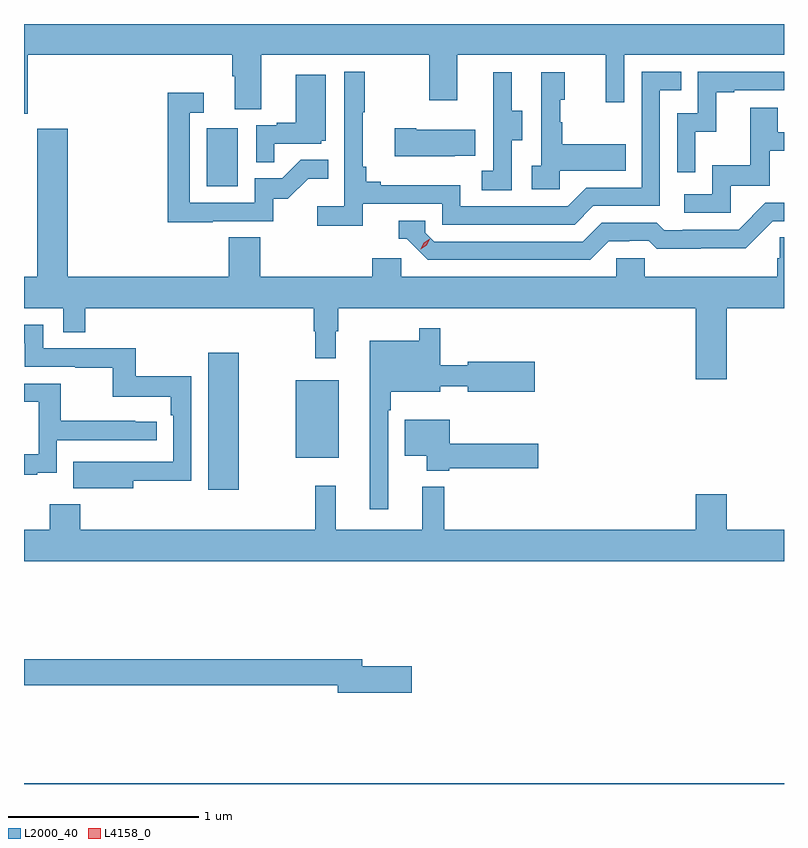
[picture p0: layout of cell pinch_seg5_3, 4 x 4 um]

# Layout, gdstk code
import gdstk
lib = gdstk.Library(unit=1e-6, precision=1e-09)
def R(c, l, rs):  # rectangles x0, y0, x1, y1
    for r in rs: c.add(gdstk.rectangle(r[:2], r[2:], *l))
def P(c, l, *ps):  # polygons
    for p in ps: c.add(gdstk.Polygon(p, *l))
L2000_40 = (2000, 40)
L4158_0 = (4158, 0)

pinch_seg5_3 = lib.new_cell('pinch_seg5_3')
R(pinch_seg5_3, L2000_40, [(1132.501,900.875,1136.501,900.88), (1133.471,902.424,1133.632,903.145), (1133.93,902.591,1134.157,903.001), (1133.462,904.02,1133.626,904.327)])
P(pinch_seg5_3, L2000_40, [(1132.522,904.712),(1133.597,904.712),(1133.597,904.6),(1133.609,904.6),(1133.609,904.426),(1133.749,904.426),(1133.749,904.712),(1134.634,904.712),(1134.634,904.473),(1134.781,904.473),(1134.781,904.712),(1135.562,904.712),(1135.562,904.464),(1135.659,904.464),(1135.659,904.712),(1136.501,904.712),(1136.501,904.875),(1132.501,904.875),(1132.501,904.403),(1132.522,904.403)],
  [(1134.284,903.93),(1134.702,903.93),(1134.702,903.819),(1135.399,903.819),(1135.498,903.918),(1135.848,903.918),(1135.848,904.527),(1135.961,904.527),(1135.961,904.623),(1135.752,904.623),(1135.752,904.014),(1135.461,904.014),(1135.362,903.915),(1134.798,903.915),(1134.798,904.027),(1134.379,904.027),(1134.379,904.046),(1134.302,904.046),(1134.302,904.123),(1134.283,904.123),(1134.283,904.411),(1134.295,904.411),(1134.295,904.624),(1134.186,904.624),(1134.186,903.916),(1134.045,903.916),(1134.045,903.814),(1134.284,903.814)],
  [(1136.034,904.307),(1136.144,904.307),(1136.144,904.515),(1136.239,904.515),(1136.239,904.527),(1136.501,904.527),(1136.501,904.623),(1136.046,904.623),(1136.046,904.404),(1135.938,904.404),(1135.938,904.095),(1136.034,904.095)],
  [(1135.32,904.103),(1135.667,904.103),(1135.667,904.243),(1135.333,904.243),(1135.333,904.358),(1135.323,904.358),(1135.323,904.476),(1135.348,904.476),(1135.348,904.621),(1135.224,904.621),(1135.224,904.13),(1135.173,904.13),(1135.173,904.005),(1135.32,904.005)],
  [(1135.068,904.264),(1135.123,904.264),(1135.123,904.419),(1135.069,904.419),(1135.069,904.621),(1134.971,904.621),(1134.971,904.407),(1134.972,904.407),(1134.972,904.103),(1134.909,904.103),(1134.909,904),(1135.068,904)],
  [(1133.819,904.245),(1134.066,904.245),(1134.066,904.26),(1134.088,904.26),(1134.088,904.609),(1133.93,904.609),(1133.93,904.354),(1133.831,904.354),(1133.831,904.341),(1133.724,904.341),(1133.724,904.147),(1133.819,904.147)],
  [(1133.495,903.837),(1133.814,903.837),(1133.814,903.954),(1133.89,903.954),(1133.997,904.061),(1134.101,904.061),(1134.101,904.16),(1133.957,904.16),(1133.859,904.062),(1133.715,904.062),(1133.715,903.933),(1133.373,903.933),(1133.373,904.407),(1133.446,904.407),(1133.446,904.513),(1133.257,904.513),(1133.257,903.832),(1133.495,903.832)],
  [(1136.22,904.023),(1136.425,904.023),(1136.425,904.209),(1136.501,904.209),(1136.501,904.305),(1136.467,904.305),(1136.467,904.435),(1136.323,904.435),(1136.323,904.132),(1136.124,904.132),(1136.124,903.978),(1135.977,903.978),(1135.977,903.882),(1136.22,903.882)],
  [(1134.767,904.181),(1134.875,904.181),(1134.875,904.318),(1134.565,904.318),(1134.565,904.326),(1134.453,904.326),(1134.453,904.178),(1134.767,904.178)],
  [(1136.2,903.38),(1136.501,903.38),(1136.501,903.752),(1136.479,903.752),(1136.479,903.642),(1136.465,903.642),(1136.465,903.544),(1135.767,903.544),(1135.767,903.642),(1135.617,903.642),(1135.617,903.544),(1134.486,903.544),(1134.486,903.642),(1134.335,903.642),(1134.335,903.544),(1133.744,903.544),(1133.744,903.752),(1133.579,903.752),(1133.579,903.544),(1132.73,903.544),(1132.73,904.324),(1132.57,904.324),(1132.57,903.544),(1132.501,903.544),(1132.501,903.38),(1132.707,903.38),(1132.707,903.253),(1132.823,903.253),(1132.823,903.38),(1134.025,903.38),(1134.025,903.257),(1134.033,903.257),(1134.033,903.117),(1134.142,903.117),(1134.142,903.257),(1134.154,903.257),(1134.154,903.38),(1136.036,903.38),(1136.036,903.006),(1136.2,903.006)],
  [(1135.579,903.732),(1135.686,903.732),(1135.686,903.735),(1135.789,903.735),(1135.831,903.693),(1136.064,903.693),(1136.064,903.695),(1136.3,903.695),(1136.442,903.837),(1136.501,903.837),(1136.501,903.933),(1136.403,903.933),(1136.262,903.792),(1135.969,903.792),(1135.969,903.789),(1135.87,903.789),(1135.831,903.828),(1135.542,903.828),(1135.443,903.729),(1134.66,903.729),(1134.612,903.777),(1134.612,903.84),(1134.473,903.84),(1134.473,903.744),(1134.516,903.744),(1134.627,903.633),(1135.48,903.633)],
  [(1133.077,902.47),(1133.382,902.47),(1133.382,903.022),(1133.089,903.022),(1133.089,903.168),(1132.602,903.168),(1132.602,903.291),(1132.501,903.291),(1132.501,903.195),(1132.506,903.195),(1132.506,903.072),(1132.771,903.072),(1132.771,903.067),(1132.968,903.067),(1132.968,902.912),(1133.273,902.912),(1133.273,902.816),(1133.286,902.816),(1133.286,902.571),(1132.973,902.571),(1132.973,902.572),(1132.759,902.572),(1132.759,902.432),(1133.077,902.432)],
  [(1134.417,902.843),(1134.43,902.843),(1134.43,902.939),(1134.691,902.939),(1134.691,902.969),(1134.836,902.969),(1134.836,902.939),(1135.189,902.939),(1135.189,903.097),(1134.836,903.097),(1134.836,903.079),(1134.691,903.079),(1134.691,903.274),(1134.582,903.274),(1134.582,903.208),(1134.32,903.208),(1134.32,902.322),(1134.417,902.322)],
  [(1132.571,902.513),(1132.674,902.513),(1132.674,902.685),(1133.2,902.685),(1133.2,902.781),(1133.087,902.781),(1133.087,902.786),(1132.694,902.786),(1132.694,902.982),(1132.501,902.982),(1132.501,902.886),(1132.578,902.886),(1132.578,902.61),(1132.501,902.61),(1132.501,902.502),(1132.571,902.502)],
  [(1134.738,902.536),(1135.207,902.536),(1135.207,902.665),(1134.742,902.665),(1134.742,902.791),(1134.506,902.791),(1134.506,902.603),(1134.62,902.603),(1134.62,902.525),(1134.738,902.525)],
  [(1136.501,902.212),(1136.2,902.212),(1136.2,902.401),(1136.036,902.401),(1136.036,902.212),(1134.713,902.212),(1134.713,902.44),(1134.596,902.44),(1134.596,902.212),(1134.143,902.212),(1134.143,902.446),(1134.033,902.446),(1134.033,902.212),(1132.796,902.212),(1132.796,902.347),(1132.636,902.347),(1132.636,902.212),(1132.501,902.212),(1132.501,902.048),(1136.501,902.048)],
  [(1134.541,901.496),(1134.28,901.496),(1134.28,901.532),(1132.501,901.532),(1132.501,901.396),(1134.152,901.396),(1134.152,901.354),(1134.541,901.354)])
P(pinch_seg5_3, L4158_0, [(1134.59,903.69),(1134.59,903.69),(1134.605,903.723),(1134.636,903.744),(1134.636,903.744),(1134.636,903.743),(1134.62,903.71),(1134.59,903.69)])

lib.write_gds('pinch_seg5_3.gds')
